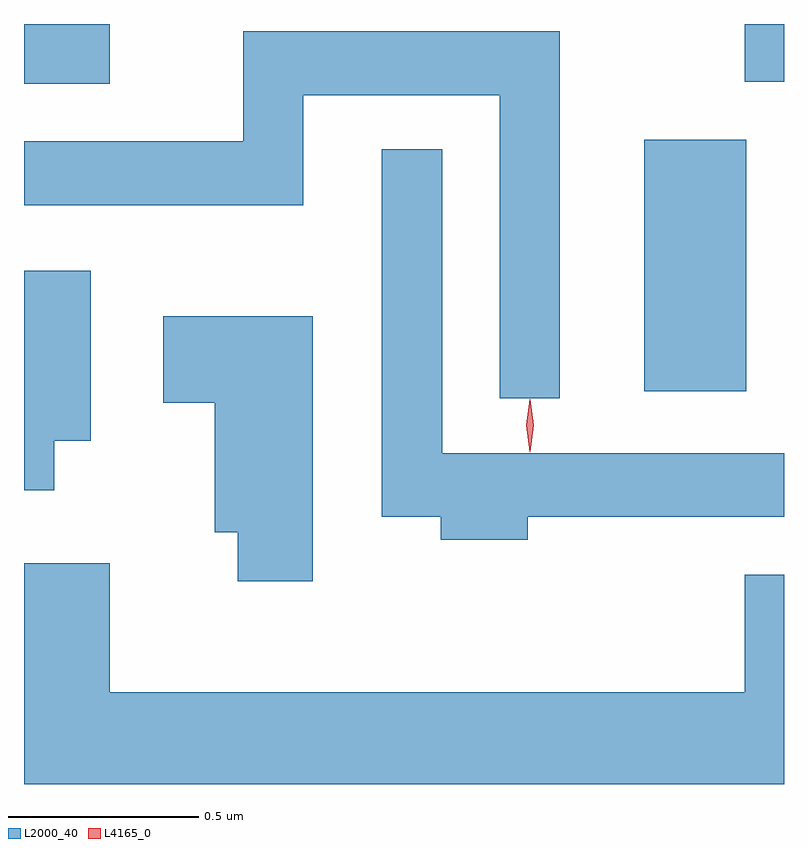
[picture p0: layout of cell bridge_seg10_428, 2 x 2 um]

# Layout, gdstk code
import gdstk
lib = gdstk.Library(unit=1e-6, precision=1e-09)
def R(c, l, rs):  # rectangles x0, y0, x1, y1
    for r in rs: c.add(gdstk.rectangle(r[:2], r[2:], *l))
def P(c, l, *ps):  # polygons
    for p in ps: c.add(gdstk.Polygon(p, *l))
L2000_40 = (2000, 40)
L4165_0 = (4165, 0)

bridge_seg10_428 = lib.new_cell('bridge_seg10_428')
R(bridge_seg10_428, L2000_40, [(1396.666,2108.316,1396.934,2108.979), (1395.034,2109.126,1395.259,2109.283), (1396.931,2109.131,1397.034,2109.283)])
P(bridge_seg10_428, L2000_40, [(1396.444,2109.264),(1395.611,2109.264),(1395.611,2108.974),(1395.034,2108.974),(1395.034,2108.806),(1395.769,2108.806),(1395.769,2109.096),(1396.286,2109.096),(1396.286,2108.298),(1396.444,2108.298)],
  [(1396.359,2107.986),(1397.034,2107.986),(1397.034,2108.154),(1396.134,2108.154),(1396.134,2108.953),(1395.976,2108.953),(1395.976,2107.986),(1396.131,2107.986),(1396.131,2107.926),(1396.359,2107.926)],
  [(1395.114,2108.186),(1395.209,2108.186),(1395.209,2108.634),(1395.034,2108.634),(1395.034,2108.056),(1395.114,2108.056)],
  [(1395.794,2108.514),(1395.401,2108.514),(1395.401,2108.286),(1395.536,2108.286),(1395.536,2107.946),(1395.596,2107.946),(1395.596,2107.816),(1395.794,2107.816)],
  [(1397.034,2107.834),(1396.931,2107.834),(1396.931,2107.524),(1395.259,2107.524),(1395.259,2107.864),(1395.034,2107.864),(1395.034,2107.283),(1397.034,2107.283)])
P(bridge_seg10_428, L4165_0, [(1396.366,2108.157),(1396.365,2108.158),(1396.356,2108.227),(1396.365,2108.296),(1396.366,2108.296),(1396.366,2108.296),(1396.376,2108.227),(1396.366,2108.158)])

lib.write_gds('bridge_seg10_428.gds')
